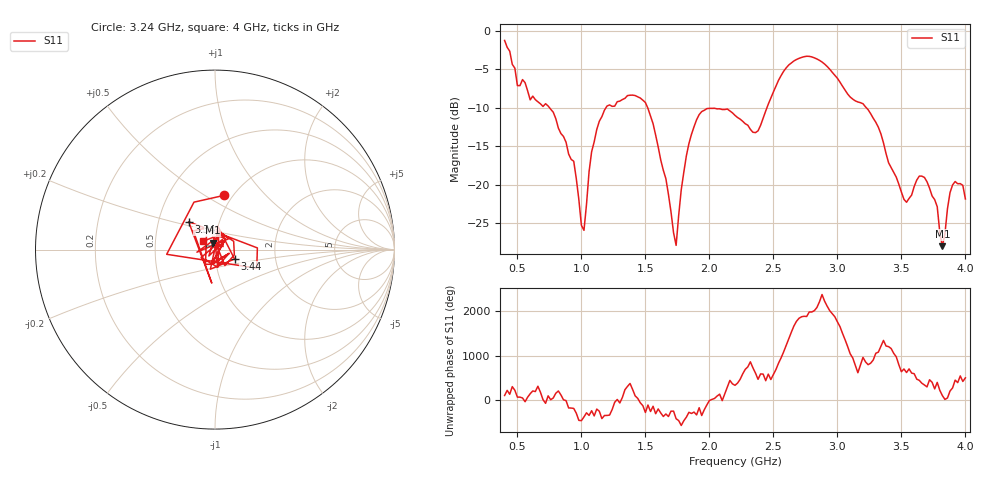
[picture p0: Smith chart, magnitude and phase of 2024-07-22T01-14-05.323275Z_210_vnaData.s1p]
!Created with skrf (http://scikit-rf.org).
# Hz S RI R 50.0
!freq ReS11 ImS11
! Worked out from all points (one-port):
!   181 points, 400 MHz to 4 GHz, reference 50 ohm
!   lowest |S11| = -28.0 dB at 3.82 GHz (marker M1), VSWR 1.08, Z = 48.6 + j3.71 ohm
!   |S11| at or under -10 dB: 750.9 MHz to 1.192 GHz (440.9 MHz wide, 45.4 % of centre); 1.518 GHz to 2.45 GHz (931.8 MHz wide, 47 % of centre); 3.226 GHz to end of sweep
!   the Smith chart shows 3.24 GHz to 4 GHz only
!   S11 on the Smith chart (normalised r, x): 3.24 GHz: 0.92, +0.61; 3.34 GHz: 0.71, +0.23; 3.44 GHz: 1.24, -0.13; 4 GHz: 0.87, +0.08
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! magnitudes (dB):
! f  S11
! 400 MHz  -1.3
! 500 MHz  -7.1
! 860 MHz  -13.7
! 940 MHz  -16.9
! 1.02 GHz  -25.9
! 1.06 GHz  -18.3
! 1.12 GHz  -12.8
! 1.3 GHz  -9.1
! 1.5 GHz  -9.3
! 1.66 GHz  -19.2
! 1.74 GHz  -27.8
! 1.76 GHz  -24.0
! 1.82 GHz  -16.2
! 1.92 GHz  -10.9
! 2.2 GHz  -11.0
! 2.38 GHz  -13.0
! 2.66 GHz  -3.9
! 2.86 GHz  -3.9
! 3.1 GHz  -8.6
! 3.24 GHz  -10.3
! 3.34 GHz  -13.4
! 3.44 GHz  -18.3
! 3.56 GHz  -21.8
! 3.68 GHz  -19.0
! 3.78 GHz  -22.8
! 3.82 GHz  -28.0
! 3.9 GHz  -20.0
! 4 GHz  -21.8
